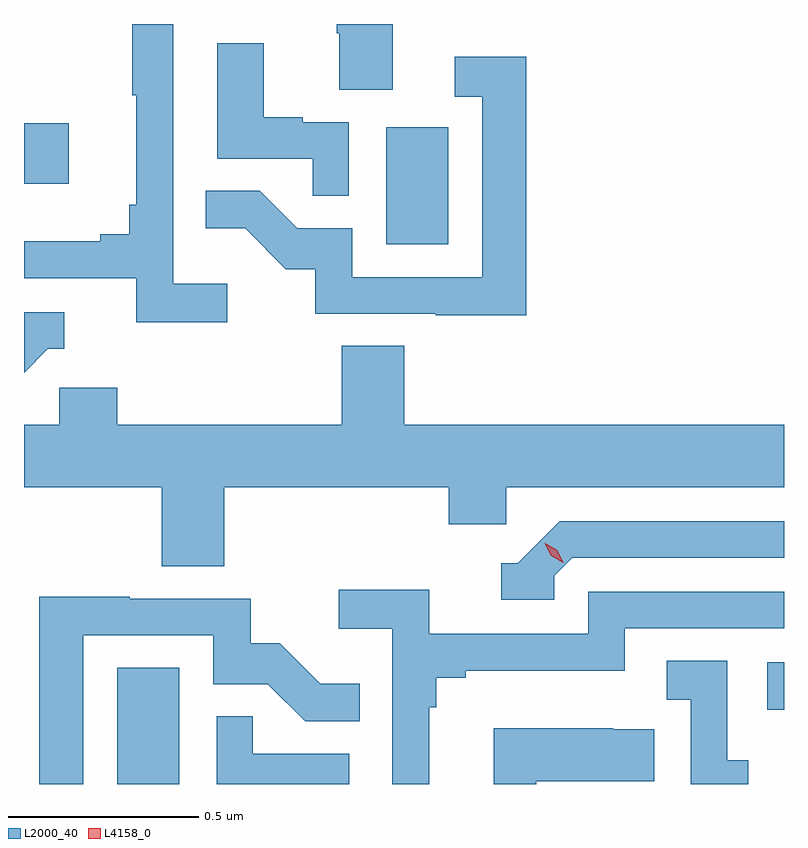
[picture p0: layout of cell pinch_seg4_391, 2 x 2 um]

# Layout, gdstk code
import gdstk
lib = gdstk.Library(unit=1e-6, precision=1e-09)
def R(c, l, rs):  # rectangles x0, y0, x1, y1
    for r in rs: c.add(gdstk.rectangle(r[:2], r[2:], *l))
def P(c, l, *ps):  # polygons
    for p in ps: c.add(gdstk.Polygon(p, *l))
L2000_40 = (2000, 40)
L4158_0 = (4158, 0)

pinch_seg4_391 = lib.new_cell('pinch_seg4_391')
R(pinch_seg4_391, L2000_40, [(1001.594,777.391,1001.758,777.697), (1003.305,777.587,1003.349,777.711), (1002.302,778.812,1002.466,779.119), (1001.349,778.97,1001.467,779.13)])
P(pinch_seg4_391, L2000_40, [(1002.319,779.391),(1002.172,779.391),(1002.172,779.367),(1002.179,779.367),(1002.179,779.218),(1002.319,779.218)],
  [(1001.884,778.708),(1001.742,778.708),(1001.742,779.391),(1001.634,779.391),(1001.634,779.203),(1001.645,779.203),(1001.645,778.915),(1001.626,778.915),(1001.626,778.838),(1001.549,778.838),(1001.549,778.819),(1001.349,778.819),(1001.349,778.722),(1001.645,778.722),(1001.645,778.606),(1001.884,778.606)],
  [(1002.204,779.133),(1002.083,779.133),(1002.083,779.146),(1001.98,779.146),(1001.98,779.341),(1001.858,779.341),(1001.858,779.037),(1002.109,779.037),(1002.109,778.939),(1002.204,778.939)],
  [(1002.671,779.305),(1002.483,779.305),(1002.483,779.199),(1002.555,779.199),(1002.555,778.725),(1002.213,778.725),(1002.213,778.854),(1002.068,778.854),(1001.97,778.952),(1001.827,778.952),(1001.827,778.853),(1001.931,778.853),(1002.038,778.746),(1002.115,778.746),(1002.115,778.629),(1002.433,778.629),(1002.433,778.624),(1002.671,778.624)],
  [(1001.412,778.536),(1001.455,778.536),(1001.455,778.632),(1001.349,778.632),(1001.349,778.473)],
  [(1001.876,778.172),(1002.467,778.172),(1002.467,778.074),(1002.618,778.074),(1002.618,778.172),(1003.349,778.172),(1003.349,778.336),(1002.35,778.336),(1002.35,778.544),(1002.185,778.544),(1002.185,778.336),(1001.594,778.336),(1001.594,778.434),(1001.442,778.434),(1001.442,778.336),(1001.349,778.336),(1001.349,778.172),(1001.711,778.172),(1001.711,777.964),(1001.876,777.964)],
  [(1002.744,777.939),(1002.792,777.987),(1003.349,777.987),(1003.349,778.083),(1002.759,778.083),(1002.648,777.972),(1002.605,777.972),(1002.605,777.876),(1002.744,777.876)],
  [(1002.415,777.593),(1002.434,777.593),(1002.434,777.67),(1002.511,777.67),(1002.511,777.689),(1002.93,777.689),(1002.93,777.801),(1003.349,777.801),(1003.349,777.897),(1002.834,777.897),(1002.834,777.786),(1002.416,777.786),(1002.416,777.902),(1002.177,777.902),(1002.177,777.8),(1002.318,777.8),(1002.318,777.391),(1002.415,777.391)],
  [(1001.505,777.783),(1001.847,777.783),(1001.847,777.654),(1001.991,777.654),(1002.089,777.556),(1002.233,777.556),(1002.233,777.655),(1002.129,777.655),(1002.022,777.762),(1001.946,777.762),(1001.946,777.879),(1001.627,777.879),(1001.627,777.884),(1001.389,777.884),(1001.389,777.391),(1001.505,777.391)],
  [(1003.255,777.453),(1003.2,777.453),(1003.2,777.716),(1003.041,777.716),(1003.041,777.613),(1003.104,777.613),(1003.104,777.391),(1003.255,777.391)],
  [(1002.205,777.471),(1001.951,777.471),(1001.951,777.569),(1001.856,777.569),(1001.856,777.391),(1002.205,777.391)],
  [(1002.697,777.398),(1003.007,777.398),(1003.007,777.535),(1002.899,777.535),(1002.899,777.538),(1002.585,777.538),(1002.585,777.391),(1002.697,777.391)])
P(pinch_seg4_391, L4158_0, [(1002.768,777.973),(1002.737,777.992),(1002.72,778.025),(1002.72,778.025),(1002.721,778.025),(1002.752,778.006),(1002.768,777.973),(1002.768,777.973)])

lib.write_gds('pinch_seg4_391.gds')
